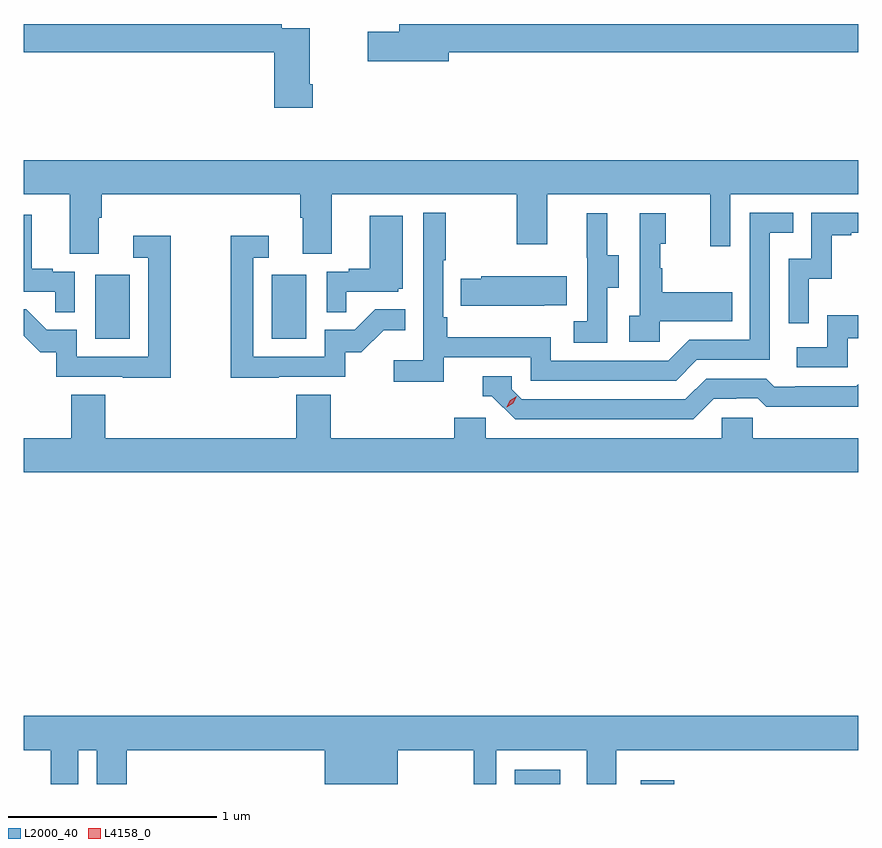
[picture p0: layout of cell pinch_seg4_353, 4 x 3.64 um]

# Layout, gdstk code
import gdstk
lib = gdstk.Library(unit=1e-6, precision=1e-09)
def R(c, l, rs):  # rectangles x0, y0, x1, y1
    for r in rs: c.add(gdstk.rectangle(r[:2], r[2:], *l))
def P(c, l, *ps):  # polygons
    for p in ps: c.add(gdstk.Polygon(p, *l))
L2000_40 = (2000, 40)
L4158_0 = (4158, 0)

pinch_seg4_353 = lib.new_cell('pinch_seg4_353')
R(pinch_seg4_353, L2000_40, [(974.342,803.318,974.56,803.386), (974.945,803.318,975.106,803.335), (972.332,805.452,972.496,805.759), (973.178,805.452,973.342,805.759)])
P(pinch_seg4_353, L2000_40, [(974.026,806.824),(975.988,806.824),(975.988,806.96),(973.787,806.96),(973.787,806.924),(973.638,806.924),(973.638,806.782),(974.026,806.782)],
  [(973.373,806.671),(973.36,806.671),(973.36,806.94),(973.226,806.94),(973.226,806.96),(971.988,806.96),(971.988,806.824),(973.19,806.824),(973.19,806.559),(973.373,806.559)],
  [(971.988,806.144),(972.209,806.144),(972.209,805.858),(972.349,805.858),(972.349,806.032),(972.362,806.032),(972.362,806.144),(973.313,806.144),(973.313,806.032),(973.325,806.032),(973.325,805.858),(973.465,805.858),(973.465,806.144),(974.35,806.144),(974.35,805.905),(974.497,805.905),(974.497,806.144),(975.278,806.144),(975.278,805.896),(975.375,805.896),(975.375,806.144),(975.988,806.144),(975.988,806.308),(971.988,806.308)],
  [(974,805.362),(974.418,805.362),(974.418,805.251),(975.115,805.251),(975.214,805.35),(975.564,805.35),(975.564,805.959),(975.677,805.959),(975.677,806.055),(975.468,806.055),(975.468,805.446),(975.177,805.446),(975.078,805.347),(974.514,805.347),(974.514,805.459),(974.018,805.459),(974.018,805.555),(973.998,805.555),(973.998,805.828),(974.011,805.828),(974.011,806.056),(973.902,806.056),(973.902,805.348),(973.761,805.348),(973.761,805.246),(974,805.246)],
  [(975.75,805.739),(975.86,805.739),(975.86,805.947),(975.955,805.947),(975.955,805.959),(975.988,805.959),(975.988,806.055),(975.762,806.055),(975.762,805.836),(975.654,805.836),(975.654,805.527),(975.75,805.527)],
  [(975.036,805.535),(975.383,805.535),(975.383,805.675),(975.049,805.675),(975.049,805.79),(975.039,805.79),(975.039,805.908),(975.064,805.908),(975.064,806.053),(974.94,806.053),(974.94,805.562),(974.889,805.562),(974.889,805.437),(975.036,805.437)],
  [(974.784,805.696),(974.839,805.696),(974.839,805.851),(974.785,805.851),(974.785,806.053),(974.687,806.053),(974.687,805.839),(974.688,805.839),(974.688,805.535),(974.625,805.535),(974.625,805.432),(974.784,805.432)],
  [(972.234,805.773),(972.128,805.773),(972.128,805.786),(972.028,805.786),(972.028,806.047),(971.988,806.047),(971.988,805.677),(972.139,805.677),(972.139,805.579),(972.234,805.579)],
  [(973.535,805.677),(973.782,805.677),(973.782,805.692),(973.804,805.692),(973.804,806.041),(973.646,806.041),(973.646,805.786),(973.547,805.786),(973.547,805.773),(973.44,805.773),(973.44,805.579),(973.535,805.579)],
  [(973.211,805.269),(973.53,805.269),(973.53,805.386),(973.606,805.386),(973.713,805.493),(973.817,805.493),(973.817,805.592),(973.673,805.592),(973.575,805.494),(973.431,805.494),(973.431,805.365),(973.089,805.365),(973.089,805.839),(973.162,805.839),(973.162,805.945),(972.981,805.945),(972.981,805.264),(973.211,805.264)],
  [(972.694,805.945),(972.513,805.945),(972.513,805.839),(972.585,805.839),(972.585,805.365),(972.243,805.365),(972.243,805.494),(972.099,805.494),(972.001,805.592),(971.988,805.592),(971.988,805.466),(972.068,805.386),(972.145,805.386),(972.145,805.269),(972.463,805.269),(972.463,805.264),(972.694,805.264)],
  [(974.483,805.613),(974.591,805.613),(974.591,805.75),(974.181,805.75),(974.181,805.74),(974.083,805.74),(974.083,805.61),(974.483,805.61)],
  [(975.936,805.455),(975.988,805.455),(975.988,805.564),(975.84,805.564),(975.84,805.41),(975.693,805.41),(975.693,805.314),(975.936,805.314)],
  [(975.295,805.164),(975.402,805.164),(975.402,805.167),(975.505,805.167),(975.547,805.125),(975.78,805.125),(975.78,805.127),(975.988,805.127),(975.988,805.234),(975.978,805.224),(975.685,805.224),(975.685,805.221),(975.586,805.221),(975.547,805.26),(975.258,805.26),(975.159,805.161),(974.376,805.161),(974.328,805.209),(974.328,805.272),(974.189,805.272),(974.189,805.176),(974.232,805.176),(974.343,805.065),(975.196,805.065)],
  [(975.988,804.976),(975.483,804.976),(975.483,805.074),(975.333,805.074),(975.333,804.976),(974.202,804.976),(974.202,805.074),(974.051,805.074),(974.051,804.976),(973.46,804.976),(973.46,805.184),(973.295,805.184),(973.295,804.976),(972.38,804.976),(972.38,805.184),(972.215,805.184),(972.215,804.976),(971.988,804.976),(971.988,804.812),(975.988,804.812)],
  [(972.25,803.48),(972.338,803.48),(972.338,803.318),(972.482,803.318),(972.482,803.48),(973.43,803.48),(973.43,803.318),(973.78,803.318),(973.78,803.48),(974.145,803.48),(974.145,803.318),(974.253,803.318),(974.253,803.48),(974.687,803.48),(974.687,803.318),(974.827,803.318),(974.827,803.48),(975.988,803.48),(975.988,803.644),(971.988,803.644),(971.988,803.48),(972.119,803.48),(972.119,803.318),(972.25,803.318)])
P(pinch_seg4_353, L4158_0, [(974.303,805.124),(974.303,805.125),(974.32,805.157),(974.35,805.176),(974.351,805.176),(974.351,805.176),(974.334,805.143),(974.304,805.124)])

lib.write_gds('pinch_seg4_353.gds')
